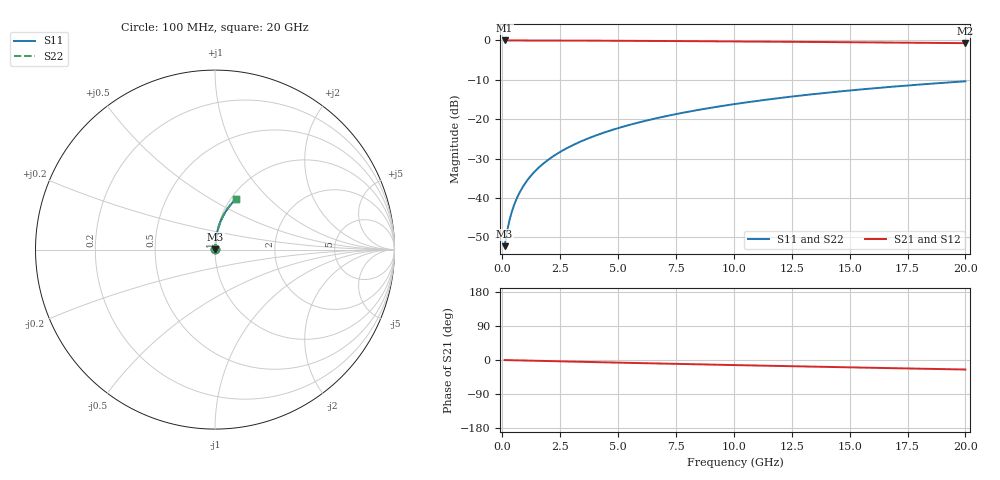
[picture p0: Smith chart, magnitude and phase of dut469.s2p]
! Touchstone file exported from HFSS 2024.1.0
!  File:  C:/UserFiles/LocalFiles/RDL_TSV_Batchsim/temp_RDL_bottom_469_1779685868.aedt
!  Generated:  01:13:54 PM May 25, 2026
!  Design:  RDL_bottom
!  Project:  temp_RDL_bottom_469_1779685868
!  Setup:  Setup1
!  Solution:  Sweep
! Variables:
!  dtsv = 10.80580581um
!  hbump = 3um
!  htsv = 96.68um
!  ldown = 292.01um
!  lrdl = 100um
!  p = 40
!  p1 = 52.52um
!  rhole = 1um
!  t = 450um
!  tdown = 4.02um
!  trdl = 3.915915916um
!  wdown = 14.94um
!  wrdl = 20um
# GHz S MA R 50.000000
! Terminal data exported
! Port[1] = RDL1_T1
! Port[2] = RDL1_T2
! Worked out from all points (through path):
!   200 points, 100 MHz to 20 GHz, reference 50 ohm
!   highest |S21| = -0.02 dB at 100 MHz (marker M1); lowest = -0.7 dB at 20 GHz (marker M2)
!   group delay of S21, straight-line fit = 3.48 ps
!   lowest |S11| = -52.2 dB at 100 MHz (marker M3), VSWR 1.00, Z = 50.2 + j0.161 ohm
!   |S11| at or under -10 dB: start of sweep to end of sweep
!   |S22| runs from -52.2 to -10.4 dB; largest |S21 - S12| = 2.1e-15
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0.1  0.002452 40.7  0.9981 -0.1  0.9981 -0.1  0.002452 40.7
! Gamma 0 0 0 0
! Port Impedance 50 0 50 0
0.2  0.003686 58.8  0.9981 -0.3  0.9981 -0.3  0.003686 58.8
0.3  0.005077 67.4  0.998 -0.4  0.998 -0.4  0.005077 67.4
0.4  0.006529 72.3  0.9979 -0.6  0.9979 -0.6  0.00653 72.3
0.5  0.008012 75.4  0.9979 -0.7  0.9979 -0.7  0.008013 75.4
0.6  0.009513 77.5  0.9978 -0.9  0.9978 -0.9  0.009513 77.5
0.8  0.01254 80.1  0.9977 -1.1  0.9977 -1.1  0.01254 80.1
1.1  0.01711 82.2  0.9974 -1.6  0.9974 -1.6  0.01711 82.2
1.5  0.02321 83.5  0.997 -2.1  0.997 -2.1  0.02321 83.5
1.8  0.0278 84.1  0.9966 -2.5  0.9966 -2.5  0.0278 84.1
2.1  0.03238 84.4  0.9962 -3.0  0.9962 -3.0  0.03238 84.4
2.7  0.04158 84.6  0.9951 -3.8  0.9951 -3.8  0.04157 84.6
3.5  0.05387 84.5  0.9934 -4.9  0.9934 -4.9  0.05387 84.5
4.2  0.06468 84.2  0.9916 -5.9  0.9916 -5.9  0.06468 84.2
5  0.07708 83.8  0.9893 -6.9  0.9893 -6.9  0.07708 83.8
5.9  0.09109 83.1  0.9864 -8.1  0.9864 -8.1  0.09109 83.1
6.8  0.1051 82.3  0.9833 -9.3  0.9833 -9.3  0.1051 82.3
8.3  0.1286 80.9  0.9776 -11.2  0.9776 -11.2  0.1286 80.9
10.1  0.1567 79.0  0.9702 -13.5  0.9702 -13.5  0.1567 79.0
13.4  0.2075 75.3  0.9556 -17.5  0.9556 -17.5  0.2074 75.3
16.7  0.2564 71.5  0.9396 -21.4  0.9396 -21.4  0.2563 71.5
20  0.3027 67.7  0.9226 -25.1  0.9226 -25.1  0.3027 67.7
